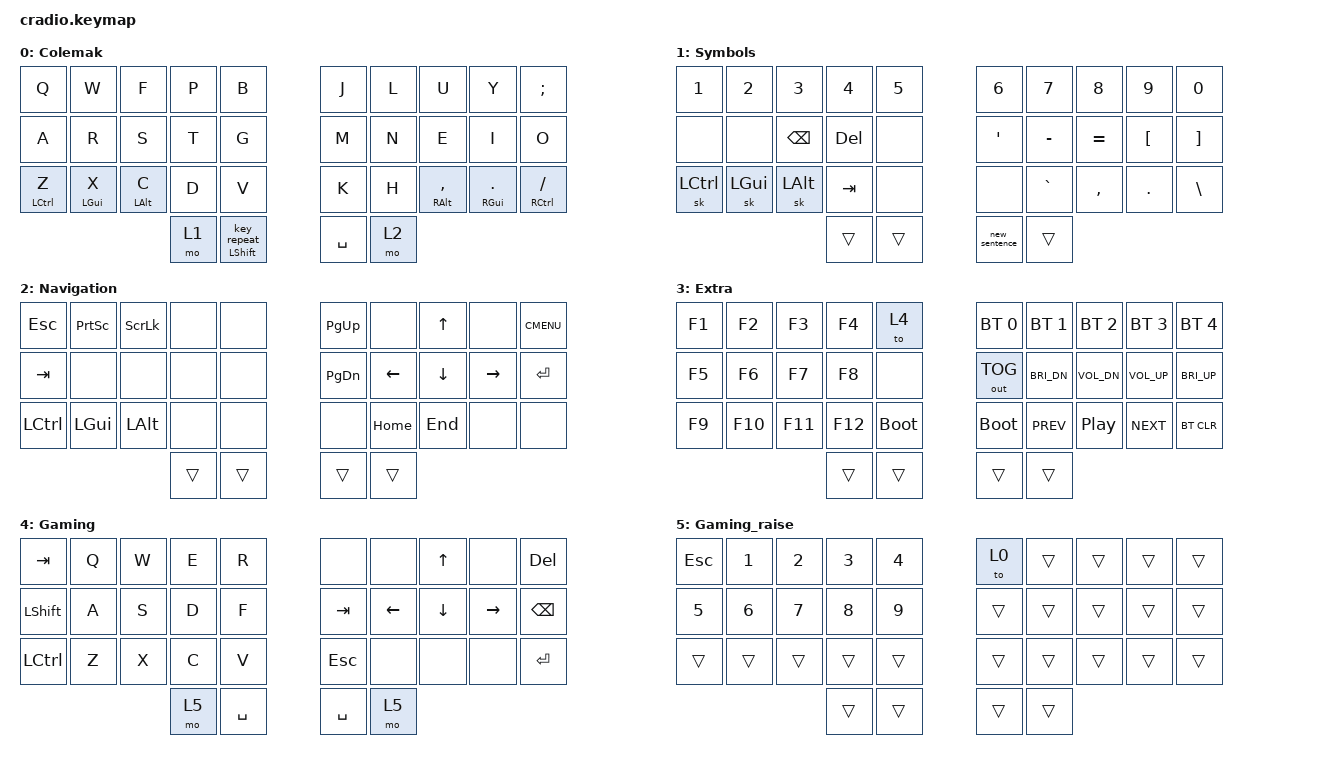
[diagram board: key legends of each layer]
/*
* Copyright (c) 2020 The ZMK Contributors
*
* SPDX-License-Identifier: MIT
*/

#include <behaviors.dtsi>
#include <dt-bindings/zmk/bt.h>
#include <dt-bindings/zmk/keys.h>
#include <dt-bindings/zmk/outputs.h>

&mt {
    flavor = "tap-preferred";
    tapping_term_ms = <200>;
};

/ {
    conditional_layers {
        compatible = "zmk,conditional-layers";

        tri_layer {
            if-layers = <1 2>;
            then-layer = <3>;
        };
    };

    combos {
        compatible = "zmk,combos";
    };

    macros {
        new_sentence: new_sentence {
            compatible = "zmk,behavior-macro";
            #binding-cells = <0>;
            bindings = <&kp PERIOD &kp SPACE &sk LEFT_SHIFT>;
            label = "NEW_SENTENCE";
        };
    };

    behaviors {
        kp_repeat: kp_repeat {
            compatible = "zmk,behavior-hold-tap";
            label = "KP_REPEAT";
            bindings = <&kp>, <&key_repeat>;

            #binding-cells = <2>;
            tapping-term-ms = <200>;
        };
    };

    keymap {
        compatible = "zmk,keymap";

        Colemak {
            bindings = <
&kp Q        &kp W       &kp F       &kp P  &kp B                      &kp J      &kp L  &kp U           &kp Y         &kp SEMI
&kp A        &kp R       &kp S       &kp T  &kp G                      &kp M      &kp N  &kp E           &kp I         &kp O
&mt LCTRL Z  &mt LGUI X  &mt LALT C  &kp D  &kp V                      &kp K      &kp H  &mt RALT COMMA  &mt RGUI DOT  &mt RCTRL SLASH
                                     &mo 1  &kp_repeat LEFT_SHIFT 0    &kp SPACE  &mo 2
            >;
        };

        Symbols {
            bindings = <
&kp N1     &kp N2    &kp N3    &kp N4   &kp N5    &kp N6         &kp N7     &kp N8     &kp N9    &kp N0
&none      &none     &kp BSPC  &kp DEL  &none     &kp SQT        &kp MINUS  &kp EQUAL  &kp LBKT  &kp RBKT
&sk LCTRL  &sk LGUI  &sk LALT  &kp TAB  &none     &none          &kp GRAVE  &kp COMMA  &kp DOT   &kp BSLH
                               &trans   &trans    &new_sentence  &trans
            >;
        };

        Navigation {
            bindings = <
&kp ESC    &kp PRINTSCREEN  &kp SCROLLLOCK  &none   &none     &kp PG_UP  &none     &kp UP    &none      &kp K_CMENU
&kp TAB    &none            &none           &none   &none     &kp PG_DN  &kp LEFT  &kp DOWN  &kp RIGHT  &kp RET
&kp LCTRL  &kp LGUI         &kp LALT        &none   &none     &none      &kp HOME  &kp END   &none      &none
                                            &trans  &trans    &trans     &trans
            >;
        };

        Extra {
            bindings = <
&kp F1  &kp F2   &kp F3   &kp F4   &to 4          &bt BT_SEL 0  &bt BT_SEL 1  &bt BT_SEL 2      &bt BT_SEL 3  &bt BT_SEL 4
&kp F5  &kp F6   &kp F7   &kp F8   &none          &out OUT_TOG  &kp C_BRI_DN  &kp C_VOL_DN      &kp C_VOL_UP  &kp C_BRI_UP
&kp F9  &kp F10  &kp F11  &kp F12  &bootloader    &bootloader   &kp C_PREV    &kp C_PLAY_PAUSE  &kp C_NEXT    &bt BT_CLR
                          &trans   &trans         &trans        &trans
            >;
        };

        Gaming {
            bindings = <
&kp TAB     &kp Q  &kp W  &kp E  &kp R        &none      &none     &kp UP    &none      &kp DEL
&kp LSHIFT  &kp A  &kp S  &kp D  &kp F        &kp TAB    &kp LEFT  &kp DOWN  &kp RIGHT  &kp BSPC
&kp LCTRL   &kp Z  &kp X  &kp C  &kp V        &kp ESC    &none     &none     &none      &kp ENTER
                          &mo 5  &kp SPACE    &kp SPACE  &mo 5
            >;
        };

        Gaming_raise {
            bindings = <
&kp ESC  &kp N1  &kp N2  &kp N3  &kp N4    &to 0   &trans  &trans  &trans  &trans
&kp N5   &kp N6  &kp N7  &kp N8  &kp N9    &trans  &trans  &trans  &trans  &trans
&trans   &trans  &trans  &trans  &trans    &trans  &trans  &trans  &trans  &trans
                         &trans  &trans    &trans  &trans
            >;
        };
    };
};
